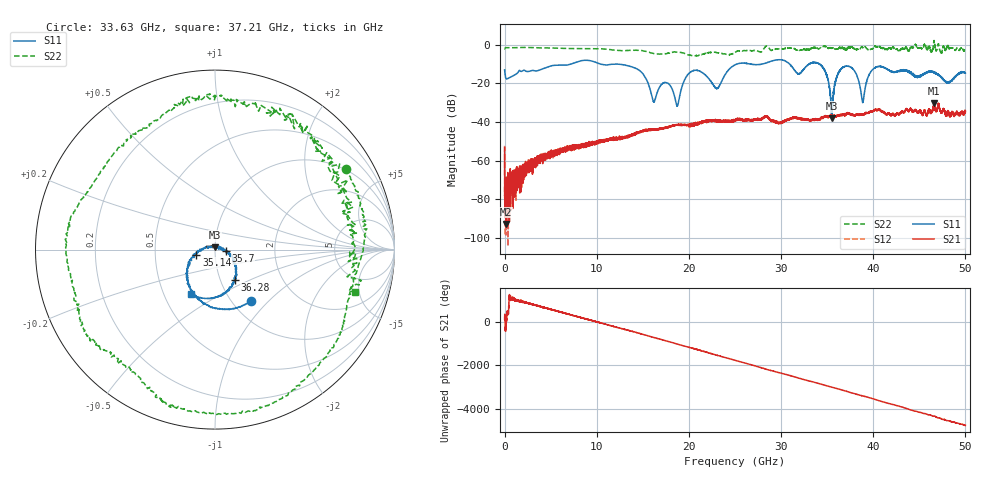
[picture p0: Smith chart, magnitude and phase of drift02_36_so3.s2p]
!Created with skrf (http://scikit-rf.org).
# Hz S RI R 50.0
!freq ReS11 ImS11 ReS21 ImS21 ReS12 ImS12 ReS22 ImS22
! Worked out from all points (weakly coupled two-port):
!   10001 points, 300 kHz to 50 GHz, reference 50 ohm
!   highest |S21| = -30.19 dB at 46.62 GHz (marker M1); lowest = -92.9 dB at 150.3 MHz (marker M2)
!   lowest |S11| = -38.1 dB at 35.48 GHz (marker M3), VSWR 1.03, Z = 49.8 + j1.22 ohm
!   |S11| at or under -10 dB: start of sweep to 7.18 GHz; 12.34 GHz to 25.17 GHz (12.84 GHz wide, 68.4 % of centre); 34.2 GHz to end of sweep (the widest 3 of 13)
!   |S22| runs from -5.7 to 2.3 dB; largest |S21 - S12| = 0.0035
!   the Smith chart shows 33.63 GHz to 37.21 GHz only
!   S11 on the Smith chart (normalised r, x): 33.63 GHz: 1.21, -0.79; 35.14 GHz: 0.81, -0.05; 35.7 GHz: 1.13, -0.01; 36.28 GHz: 1.18, -0.41; 37.21 GHz: 0.68, -0.37
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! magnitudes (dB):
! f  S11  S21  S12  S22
! 300 kHz  -12.9  -53.4  -52.4  -2.1
! 150.3 MHz  -17.4  -92.9  -80.0  -1.5
! 8.335 GHz  -8.2  -52.6  -52.7  -1.9
! 14.02 GHz  -11.7  -46.4  -46.1  -2.8
! 16.15 GHz  -29.4  -43.9  -43.9  -4.5
! 16.67 GHz  -23.3  -43.6  -43.5  -4.7
! 18.74 GHz  -31.7  -41.4  -41.5  -3.7
! 20.24 GHz  -13.9  -41.2  -41.6  -5.5
! 23.04 GHz  -22.6  -39.9  -39.1  -4.1
! 25 GHz  -10.3  -38.8  -39.2  -3.9
! 33.34 GHz  -9.4  -38.9  -38.7  -1.5
! 33.63 GHz  -9.1  -38.6  -38.5  -1.4
! 35.14 GHz  -19.3  -37.2  -37.0  -1.8
! 35.48 GHz  -38.1  -36.5  -36.6  -1.7
! 35.7 GHz  -24.5  -36.9  -36.9  -1.6
! 36.28 GHz  -13.9  -36.5  -36.4  -1.7
! 37.21 GHz  -11.0  -35.7  -35.7  -1.8
! 38.86 GHz  -29.8  -36.2  -36.0  -1.4
! 39.95 GHz  -12.7  -34.3  -34.5  -2.0
! 41.67 GHz  -13.0  -35.5  -35.6  -1.9
! 46.62 GHz  -14.4  -30.2  -30.3  2.2
! 50 GHz  -14.6  -34.5  -34.5  -2.8
